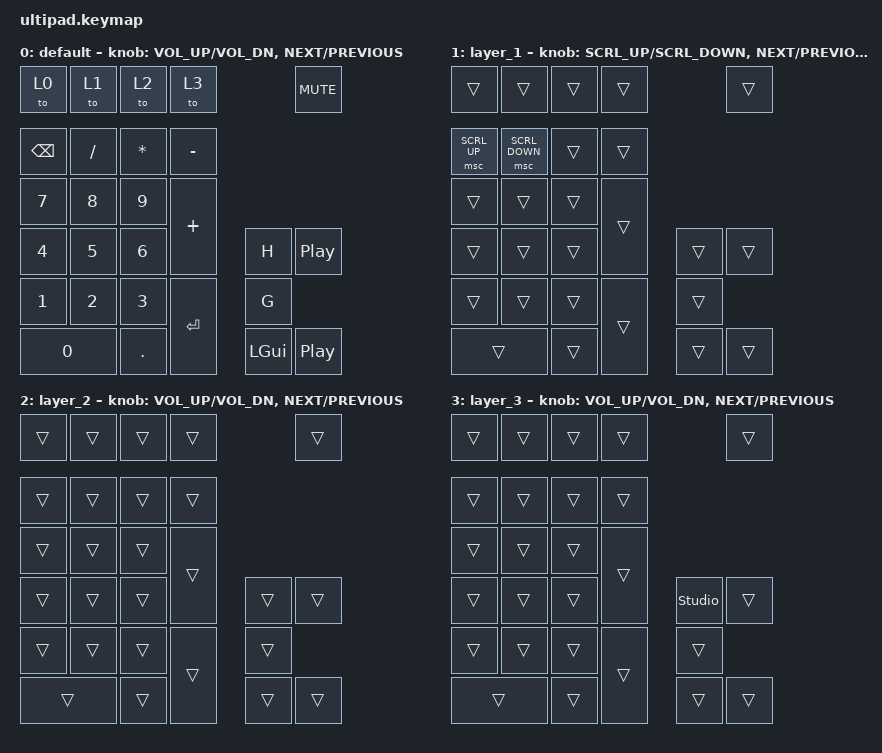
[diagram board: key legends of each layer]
/*
 * Copyright (c) 2021 The ZMK Contributors
 *
 * SPDX-License-Identifier: MIT
 */

#include <behaviors.dtsi>
#include <dt-bindings/zmk/bt.h>
#include <dt-bindings/zmk/keys.h>
#include <dt-bindings/zmk/pointing.h>

#define TIMEOUT 300
#define ZMK_POINTING_DEFAULT_SCRL_VAL 50  // default 10

&top_encoder { status = "okay"; };

&mid_encoder { status = "okay"; };

/ {
    behaviors {
        rot_scroll: sensor_rotate_kp {
            compatible = "zmk,behavior-sensor-rotate-var";
            #sensor-binding-cells = <2>;
            bindings = <&msc>, <&msc>;
            tap-ms = <20>;
        };
    };

    combos {
        compatible = "zmk,combos";

        combo_btclr {
            timeout-ms = <TIMEOUT>;
            key-positions = <0 4>;
            bindings = <&bt BT_CLR>;
        };

        combo_reset {
            timeout-ms = <TIMEOUT>;
            key-positions = <0 2>;
            bindings = <&sys_reset>;
        };

        combo_bootloader {
            timeout-ms = <TIMEOUT>;
            key-positions = <0 1>;
            bindings = <&bootloader>;
        };

        combo_bt_nxt {
            timeout-ms = <TIMEOUT>;
            key-positions = <0 3>;
            bindings = <&bt BT_NXT>;
        };
    };

    keymap: keymap {
        compatible = "zmk,keymap";

        numpad {
            display-name = "default";
            bindings = <
&to 0          &to 1         &to 2         &to 3      &kp K_MUTE
&kp BACKSPACE  &kp SLASH     &kp ASTERISK  &kp MINUS
&kp NUMBER_7   &kp N8        &kp N9
&kp NUMBER_4   &kp N5        &kp NUMBER_6  &kp PLUS   &kp H         &kp C_PLAY_PAUSE
&kp NUMBER_1   &kp NUMBER_2  &kp NUMBER_3  &kp ENTER  &kp G
&kp N0                       &kp PERIOD               &kp LEFT_GUI  &kp C_PLAY_PAUSE
            >;

            sensor-bindings =
                <&inc_dec_kp C_VOL_UP C_VOL_DN>,
                <&inc_dec_kp C_NEXT C_PREVIOUS>;
        };

        layer_1 {
            bindings = <
&trans        &trans          &trans  &trans  &trans
&msc SCRL_UP  &msc SCRL_DOWN  &trans  &trans
&trans        &trans          &trans
&trans        &trans          &trans  &trans  &trans  &trans
&trans        &trans          &trans  &trans  &trans
&trans                        &trans          &trans  &trans
            >;

            sensor-bindings =
                <&rot_scroll SCRL_UP SCRL_DOWN>,
                <&inc_dec_kp C_NEXT C_PREVIOUS>;
        };

        layer_2 {
            bindings = <
&trans  &trans  &trans  &trans  &trans
&trans  &trans  &trans  &trans
&trans  &trans  &trans
&trans  &trans  &trans  &trans  &trans  &trans
&trans  &trans  &trans  &trans  &trans
&trans          &trans          &trans  &trans
            >;

            sensor-bindings =
                <&inc_dec_kp C_VOL_UP C_VOL_DN>,
                <&inc_dec_kp C_NEXT C_PREVIOUS>;
        };

        layer_3 {
            bindings = <
&trans  &trans  &trans  &trans  &trans
&trans  &trans  &trans  &trans
&trans  &trans  &trans
&trans  &trans  &trans  &trans  &studio_unlock  &trans
&trans  &trans  &trans  &trans  &trans
&trans          &trans          &trans          &trans
            >;

            sensor-bindings =
                <&inc_dec_kp C_VOL_UP C_VOL_DN>,
                <&inc_dec_kp C_NEXT C_PREVIOUS>;
        };
    };
};
